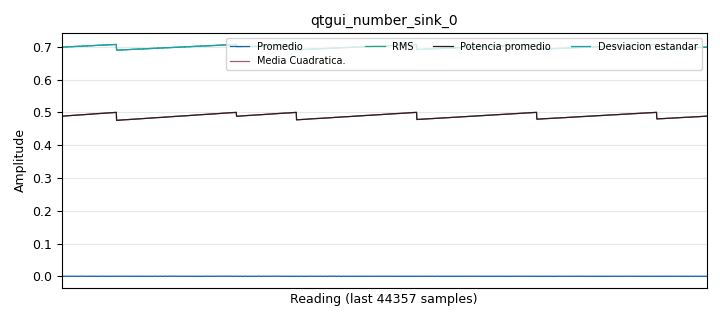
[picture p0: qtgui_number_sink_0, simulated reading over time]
options:
  parameters:
    generate_options: qt_gui
    id: Lab2
    output_language: python
    title: Not titled yet
  states: {}

blocks:
- name: frecuencia1
  id: variable
  parameters:
    value: '100'
  states: {}
- name: samp_rate
  id: variable
  parameters:
    value: '32000'
  states: {}
- name: analog_sig_source_x_0
  id: analog_sig_source_x
  parameters:
    amp: '1'
    freq: frecuencia1
    offset: '0'
    phase: '0'
    samp_rate: samp_rate
    type: float
    waveform: analog.GR_SIN_WAVE
  states: {}
- name: epy_block_0
  id: epy_block
  parameters:
    _source_code: |
      """
      Embedded Python Blocks:

      Each time this file is saved, GRC will instantiate the first class it finds
      to get ports and parameters of your block. The arguments to __init__  will
      be the parameters. All of them are required to have default values!
      """

      import numpy as np
      from gnuradio import gr


      class blk(gr.sync_block):  # other base classes are basic_block, decim_block, interp_block
          """Embedded Python Block example - a simple multiply const"""

          def __init__(self):  # only default arguments here
              """arguments to this function show up as parameters in GRC"""
              gr.sync_block.__init__(
                  self,
                  name='mi_promedio',   # will show up in GRC
                  in_sig=[np.float32],   # complex64, 
                  out_sig=[np.float32, np.float32, np.float32, np.float32, np.float32]
             
              
              )
              # if an attribute with the same name as a parameter is found,
              # a callback is registered (properties work, too).
             
              
              self.acum_anterior = 0
              self.Ntotales = 0
              self.acum_anterior1 = 0
              self.acum_anterior2 = 0
              

          def work(self, input_items, output_items):
              """example: multiply with constant"""
              #output_items[0][:] = input_items[0] * self.example_param
              
              
              
              x = input_items[0]   #Senial de entrada.
              y0 = output_items[0] #Promedio de la senial
              y1 = output_items[1] #Media de la senial
              y2 = output_items[2] #RMS de la senial
              y3 = output_items[3] #Potencia promedio de la senial
              y4 = output_items[4] #Desviacion estandar de la senial
              
              #Calculo del promedio 
              N = len(x)
              #print(N)
              self.Ntotales = self.Ntotales + N
              acumulado = self.acum_anterior + np.cumsum(x)
              self.acum_anterior = acumulado[N-1]
              y0[:]=acumulado/self.Ntotales
              
              
              #Calculo de la media cuadratica
              x2=np.multiply(x,x)
              acumulado1 = self.acum_anterior1 + np.cumsum(x2)
              self.acum_anterior1 = acumulado1[N-1]
              y1[:] = acumulado1/self.Ntotales
              
            
              
              
              #Calculo de la RMS
              y2[:] = np.sqrt(y1)
              
              #Calculo de la potencia promedio
              y3[:] = y1
              
              #Calculo de la desviacion estandar
              x3 = np.multiply(x-y0,x-y0)
              acumulado2 = self.acum_anterior2 + np.cumsum(x3)
              self.acum_anterior2 = acumulado2[N-1]        
              y4[:] = np.sqrt(acumulado2/self.Ntotales)


             
              return N
  states: {}
- name: qtgui_number_sink_0
  id: qtgui_number_sink
  parameters:
    graph_type: qtgui.NUM_GRAPH_HORIZ
    label1: Promedio
    label2: Media Cuadratica.
    label3: RMS
    label4: Potencia promedio
    label5: Desviacion estandar
    nconnections: '5'
    type: float
  states: {}

connections:
- [analog_sig_source_x_0, '0', epy_block_0, '0']
- [epy_block_0, '0', qtgui_number_sink_0, '0']
- [epy_block_0, '1', qtgui_number_sink_0, '1']
- [epy_block_0, '2', qtgui_number_sink_0, '2']
- [epy_block_0, '3', qtgui_number_sink_0, '3']
- [epy_block_0, '4', qtgui_number_sink_0, '4']

metadata:
  file_format: 1
